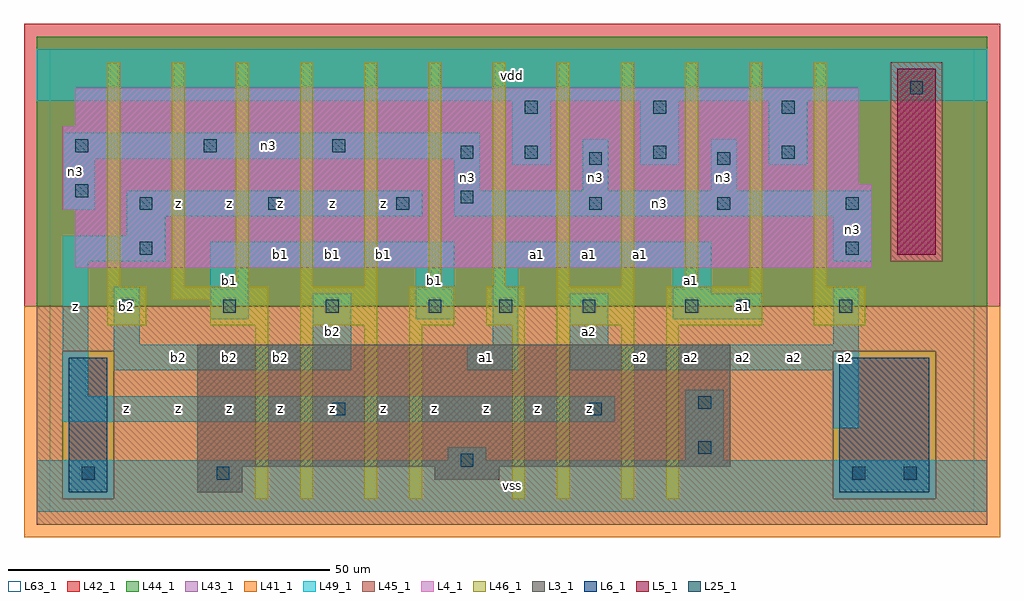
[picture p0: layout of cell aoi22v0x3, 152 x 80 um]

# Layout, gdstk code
import gdstk
lib = gdstk.Library(unit=1e-6, precision=1e-09)
def R(c, l, rs):  # rectangles x0, y0, x1, y1
    for r in rs: c.add(gdstk.rectangle(r[:2], r[2:], *l))
def A(c, l, x, y, w, h, nx, ny, dx, dy):  # array of equal rectangles
    R(c, l, [(x+i*dx, y+j*dy, x+i*dx+w, y+j*dy+h) for i in range(nx) for j in range(ny)])
L3_1 = (3, 1)
L4_1 = (4, 1)
L5_1 = (5, 1)
L6_1 = (6, 1)
L25_1 = (25, 1)
L41_1 = (41, 1)
L42_1 = (42, 1)
L43_1 = (43, 1)
L44_1 = (44, 1)
L45_1 = (45, 1)
L46_1 = (46, 1)
L49_1 = (49, 1)
L63_1 = (63, 1)

aoi22v0x3 = lib.new_cell('aoi22v0x3')
R(aoi22v0x3, L3_1, [(23,3,30,7), (60,5,70,7), (23,7,106,26)])
R(aoi22v0x3, L4_1, [(4,38,128,47), (2,47,128,51), (2,51,126,60), (4,60,126,66)])
R(aoi22v0x3, L5_1, [(132,40,138,69)])
R(aoi22v0x3, L6_1, [(3,3,9,24), (3,3,9,24), (123,3,137,24), (123,3,137,24)])
A(aoi22v0x3, L25_1, 11, 31, 2, 2, 4, 1, 16, 0)
A(aoi22v0x3, L25_1, 14, 47, 2, 2, 3, 1, 20, 0)
A(aoi22v0x3, L25_1, 84, 47, 2, 2, 3, 1, 20, 0)
A(aoi22v0x3, L25_1, 74, 55, 2, 2, 3, 2, 20, 7)
A(aoi22v0x3, L25_1, 4, 56, 2, 2, 3, 1, 20, 0)
R(aoi22v0x3, L25_1, [(5,5,7,7), (26,5,28,7), (125,5,127,7), (133,5,135,7), (64,7,66,9), (101,9,103,11), (44,15,46,17), (84,15,86,17), (101,16,103,18), (70,31,72,33), (83,31,85,33), (99,31,101,33), (107,31,109,33), (123,31,125,33), (14,40,16,42), (124,40,126,42), (64,48,66,50), (4,49,6,51), (84,54,86,56), (104,54,106,56), (64,55,66,57), (134,65,136,67)])
R(aoi22v0x3, L41_1, [(-4,-4,148,32)])
R(aoi22v0x3, L42_1, [(-4,32,148,76)])
R(aoi22v0x3, L43_1, [(3,3,9,24), (23,3,30,7), (123,3,137,24), (60,5,70,7), (23,7,106,26), (4,38,128,47), (132,40,138,69), (2,47,128,51), (2,51,126,60), (4,60,126,66)])
R(aoi22v0x3, L44_1, [(2,2,10,25), (122,2,138,25), (-2,32,146,39), (-2,39,131,70), (139,39,146,70), (-2,70,146,74)])
R(aoi22v0x3, L45_1, [(-2,-2,146,2), (-2,2,2,25), (10,2,122,25), (138,2,146,25), (-2,25,146,32), (131,39,139,70)])
A(aoi22v0x3, L46_1, 9, 35, 2, 35, 12, 1, 10, 0)
R(aoi22v0x3, L46_1, [(32,2,34,29), (39,2,41,29), (49,2,51,29), (56,2,58,29), (72,2,74,29), (79,2,81,29), (89,2,91,29), (96,2,98,29), (9,29,15,35), (25,29,34,33), (39,29,51,35), (56,29,63,35), (68,29,74,35), (79,29,91,35), (96,29,111,35), (119,29,127,35), (19,33,34,35)])
A(aoi22v0x3, L49_1, 72, 54, 6, 10, 3, 1, 20, 0)
R(aoi22v0x3, L49_1, [(-2,0,146,8), (62,8,68,10), (99,8,105,19), (122,13,126,22), (2,14,88,18), (2,18,6,39), (10,22,47,26), (65,22,73,26), (81,22,126,26), (10,26,14,35), (41,26,47,34), (69,26,73,38), (81,26,87,34), (122,26,126,35), (25,30,31,38), (57,30,63,38), (97,30,111,34), (97,34,103,38), (25,38,63,42), (69,38,103,42), (2,39,18,43), (122,39,128,46), (12,43,18,46), (12,46,58,50), (63,46,128,50), (2,47,7,55), (63,50,67,55), (83,50,87,58), (103,50,107,58), (2,55,67,59), (-2,64,146,72)])
R(aoi22v0x3, L63_1, [(0,0,144,72)])
aoi22v0x3.add(gdstk.Label('z', (12,16), layer=49, texttype=1))
aoi22v0x3.add(gdstk.Label('z', (20,16), layer=49, texttype=1))
aoi22v0x3.add(gdstk.Label('b2', (20,24), layer=49, texttype=1))
aoi22v0x3.add(gdstk.Label('b2', (12,32), layer=49, texttype=1))
aoi22v0x3.add(gdstk.Label('z', (4,32), layer=49, texttype=1))
aoi22v0x3.add(gdstk.Label('z', (20,48), layer=49, texttype=1))
aoi22v0x3.add(gdstk.Label('n3', (4,53), layer=49, texttype=1))
aoi22v0x3.add(gdstk.Label('z', (36,16), layer=49, texttype=1))
aoi22v0x3.add(gdstk.Label('z', (44,16), layer=49, texttype=1))
aoi22v0x3.add(gdstk.Label('z', (52,16), layer=49, texttype=1))
aoi22v0x3.add(gdstk.Label('z', (28,16), layer=49, texttype=1))
aoi22v0x3.add(gdstk.Label('b2', (28,24), layer=49, texttype=1))
aoi22v0x3.add(gdstk.Label('b2', (36,24), layer=49, texttype=1))
aoi22v0x3.add(gdstk.Label('b2', (44,28), layer=49, texttype=1))
aoi22v0x3.add(gdstk.Label('b1', (28,36), layer=49, texttype=1))
aoi22v0x3.add(gdstk.Label('b1', (36,40), layer=49, texttype=1))
aoi22v0x3.add(gdstk.Label('b1', (44,40), layer=49, texttype=1))
aoi22v0x3.add(gdstk.Label('b1', (52,40), layer=49, texttype=1))
aoi22v0x3.add(gdstk.Label('z', (28,48), layer=49, texttype=1))
aoi22v0x3.add(gdstk.Label('z', (36,48), layer=49, texttype=1))
aoi22v0x3.add(gdstk.Label('z', (44,48), layer=49, texttype=1))
aoi22v0x3.add(gdstk.Label('z', (52,48), layer=49, texttype=1))
aoi22v0x3.add(gdstk.Label('vss', (72,4), layer=49, texttype=1))
aoi22v0x3.add(gdstk.Label('z', (68,16), layer=49, texttype=1))
aoi22v0x3.add(gdstk.Label('z', (76,16), layer=49, texttype=1))
aoi22v0x3.add(gdstk.Label('z', (84,16), layer=49, texttype=1))
aoi22v0x3.add(gdstk.Label('z', (60,16), layer=49, texttype=1))
aoi22v0x3.add(gdstk.Label('a1', (68,24), layer=49, texttype=1))
aoi22v0x3.add(gdstk.Label('a2', (84,28), layer=49, texttype=1))
aoi22v0x3.add(gdstk.Label('b1', (60,36), layer=49, texttype=1))
aoi22v0x3.add(gdstk.Label('a1', (76,40), layer=49, texttype=1))
aoi22v0x3.add(gdstk.Label('a1', (84,40), layer=49, texttype=1))
aoi22v0x3.add(gdstk.Label('n3', (65,52), layer=49, texttype=1))
aoi22v0x3.add(gdstk.Label('n3', (34,57), layer=49, texttype=1))
aoi22v0x3.add(gdstk.Label('vdd', (72,68), layer=49, texttype=1))
aoi22v0x3.add(gdstk.Label('a2', (100,24), layer=49, texttype=1))
aoi22v0x3.add(gdstk.Label('a2', (108,24), layer=49, texttype=1))
aoi22v0x3.add(gdstk.Label('a2', (92,24), layer=49, texttype=1))
aoi22v0x3.add(gdstk.Label('a1', (108,32), layer=49, texttype=1))
aoi22v0x3.add(gdstk.Label('a1', (92,40), layer=49, texttype=1))
aoi22v0x3.add(gdstk.Label('a1', (100,36), layer=49, texttype=1))
aoi22v0x3.add(gdstk.Label('n3', (105,52), layer=49, texttype=1))
aoi22v0x3.add(gdstk.Label('n3', (85,52), layer=49, texttype=1))
aoi22v0x3.add(gdstk.Label('a2', (116,24), layer=49, texttype=1))
aoi22v0x3.add(gdstk.Label('a2', (124,24), layer=49, texttype=1))
aoi22v0x3.add(gdstk.Label('n3', (125,44), layer=49, texttype=1))
aoi22v0x3.add(gdstk.Label('n3', (95,48), layer=49, texttype=1))

lib.write_gds('aoi22v0x3.gds')
